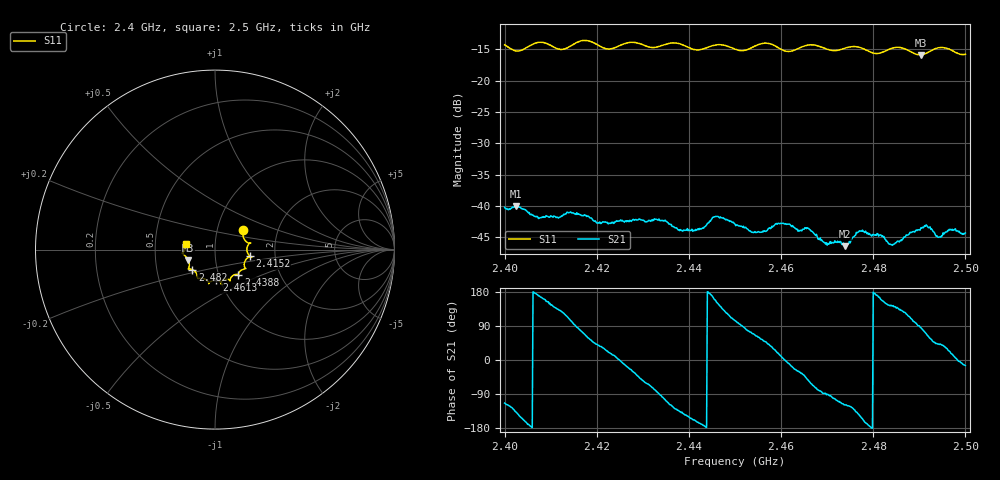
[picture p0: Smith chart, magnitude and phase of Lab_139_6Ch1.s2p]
# Hz S RI R 50
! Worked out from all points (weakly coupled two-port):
!   601 points, 2.4 GHz to 2.5 GHz, reference 50 ohm
!   highest |S21| = -40.05 dB at 2.4025 GHz (marker M1); lowest = -46.4 dB at 2.4738 GHz (marker M2)
!   lowest |S11| = -15.9 dB at 2.4903 GHz (marker M3), VSWR 1.38, Z = 36.8 - j4.47 ohm
!   |S11| at or under -10 dB: start of sweep to end of sweep
!   S12 and S22 are empty: the file has one direction only
!   S11 on the Smith chart (normalised r, x): 2.4 GHz: 1.33, +0.31; 2.4152 GHz: 1.47, -0.11; 2.4388 GHz: 1.24, -0.36; 2.4613 GHz: 0.96, -0.34; 2.482 GHz: 0.76, -0.17; 2.5 GHz: 0.72, +0.05
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2.4e9  0.1578 0.1113  -0.00392 -0.00895  0 0  0 0
2.4025e9  0.1578 0.07  -0.00733 -0.00672  0 0  0 0
2.4075e9  0.1988 0.0365  -0.00784 0.00147  0 0  0 0
2.412167e9  0.1773 0.00388  -0.0053 0.00623  0 0  0 0
2.415167e9  0.1935 -0.0369  -0.000439 0.00864  0 0  0 0
2.416667e9  0.2035 -0.0433  0.00203 0.00813  0 0  0 0
2.4205e9  0.1849 -0.044  0.00573 0.00453  0 0  0 0
2.433333e9  0.132 -0.1319  0.000393 -0.00771  0 0  0 0
2.438833e9  0.1297 -0.141  -0.00505 -0.00397  0 0  0 0
2.445833e9  0.0833 -0.1736  -0.00757 0.00329  0 0  0 0
2.45e9  0.0688 -0.1646  -0.00177 0.00694  0 0  0 0
2.454167e9  0.0338 -0.1844  0.00234 0.0057  0 0  0 0
2.461333e9  0.00775 -0.1709  0.00711 -0.000781  0 0  0 0
2.466667e9  -0.0348 -0.1901  0.00283 -0.00561  0 0  0 0
2.469833e9  -0.042 -0.174  -0.000141 -0.00509  0 0  0 0
2.473833e9  -0.0858 -0.1599  -0.00228 -0.0042  0 0  0 0
2.477167e9  -0.0967 -0.1563  -0.00538 -0.00332  0 0  0 0
2.482e9  -0.1257 -0.1117  -0.0053 0.00233  0 0  0 0
2.483333e9  -0.1396 -0.1088  -0.0041 0.00287  0 0  0 0
2.490333e9  -0.1492 -0.0591  0.000546 0.00666  0 0  0 0
2.494833e9  -0.1828 -0.0201  0.00443 0.00372  0 0  0 0
2.5e9  -0.159 0.0327  0.00589 -0.00155  0 0  0 0
